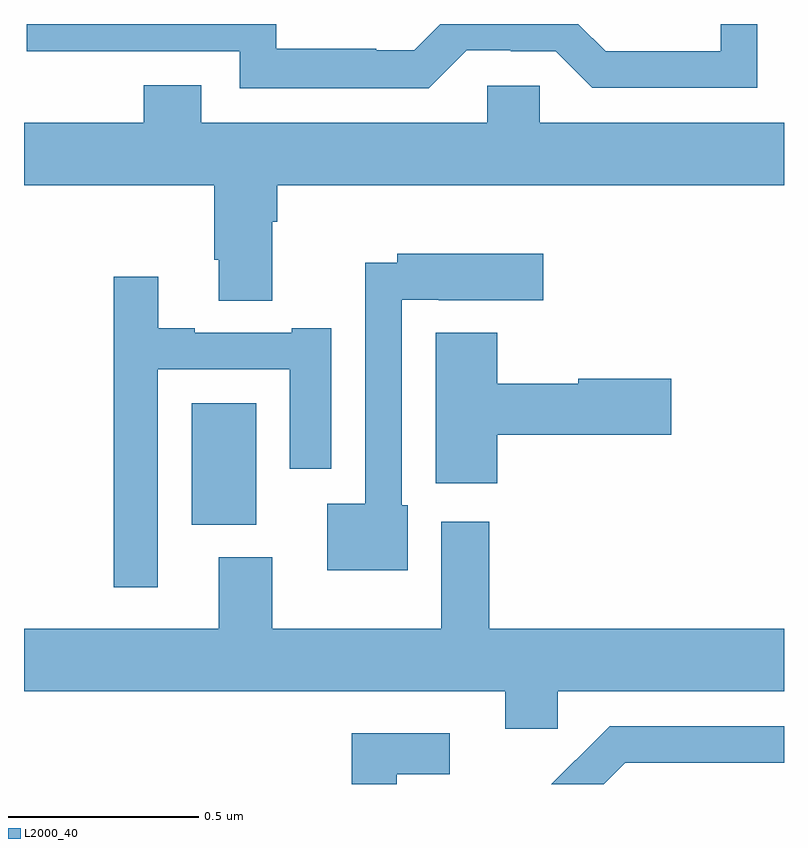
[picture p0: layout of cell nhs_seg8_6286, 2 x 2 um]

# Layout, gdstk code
import gdstk
lib = gdstk.Library(unit=1e-6, precision=1e-09)
def R(c, l, rs):  # rectangles x0, y0, x1, y1
    for r in rs: c.add(gdstk.rectangle(r[:2], r[2:], *l))
def P(c, l, *ps):  # polygons
    for p in ps: c.add(gdstk.Polygon(p, *l))
L2000_40 = (2000, 40)

nhs_seg8_6286 = lib.new_cell('nhs_seg8_6286')
R(nhs_seg8_6286, L2000_40, [(194.441,1139.582,194.611,1139.902)])
P(nhs_seg8_6286, L2000_40, [(195.165,1140.831),(195.281,1140.831),(195.281,1140.828),(195.399,1140.828),(195.495,1140.732),(195.93,1140.732),(195.93,1140.9),(195.834,1140.9),(195.834,1140.828),(195.531,1140.828),(195.459,1140.9),(195.096,1140.9),(195.027,1140.831),(194.927,1140.831),(194.927,1140.835),(194.664,1140.835),(194.664,1140.9),(194.007,1140.9),(194.007,1140.828),(194.568,1140.828),(194.568,1140.731),(195.065,1140.731)],
  [(194.653,1140.38),(194.666,1140.38),(194.666,1140.476),(196,1140.476),(196,1140.64),(195.357,1140.64),(195.357,1140.738),(195.219,1140.738),(195.219,1140.64),(194.467,1140.64),(194.467,1140.739),(194.315,1140.739),(194.315,1140.64),(194,1140.64),(194,1140.476),(194.501,1140.476),(194.501,1140.28),(194.513,1140.28),(194.513,1140.172),(194.653,1140.172)],
  [(195.01,1139.634),(194.994,1139.634),(194.994,1140.174),(195.091,1140.174),(195.091,1140.173),(195.367,1140.173),(195.367,1140.295),(194.982,1140.295),(194.982,1140.272),(194.898,1140.272),(194.898,1139.638),(194.798,1139.638),(194.798,1139.462),(195.01,1139.462)],
  [(194.352,1139.991),(194.699,1139.991),(194.699,1139.73),(194.809,1139.73),(194.809,1140.1),(194.705,1140.1),(194.705,1140.087),(194.449,1140.087),(194.449,1140.1),(194.353,1140.1),(194.353,1140.235),(194.236,1140.235),(194.236,1139.418),(194.352,1139.418)],
  [(195.245,1139.819),(195.703,1139.819),(195.703,1139.966),(195.459,1139.966),(195.459,1139.953),(195.245,1139.953),(195.245,1140.088),(195.083,1140.088),(195.083,1139.691),(195.245,1139.691)],
  [(195.405,1139.144),(196,1139.144),(196,1139.308),(195.224,1139.308),(195.224,1139.59),(195.098,1139.59),(195.098,1139.308),(194.653,1139.308),(194.653,1139.497),(194.513,1139.497),(194.513,1139.308),(194,1139.308),(194,1139.144),(195.266,1139.144),(195.266,1139.046),(195.405,1139.046)],
  [(195.582,1138.956),(196,1138.956),(196,1139.052),(195.542,1139.052),(195.451,1138.961),(195.45,1138.962),(195.388,1138.9),(195.526,1138.9)],
  [(194.981,1138.926),(195.121,1138.926),(195.121,1139.034),(194.863,1139.034),(194.863,1138.9),(194.981,1138.9)])

lib.write_gds('nhs_seg8_6286.gds')
